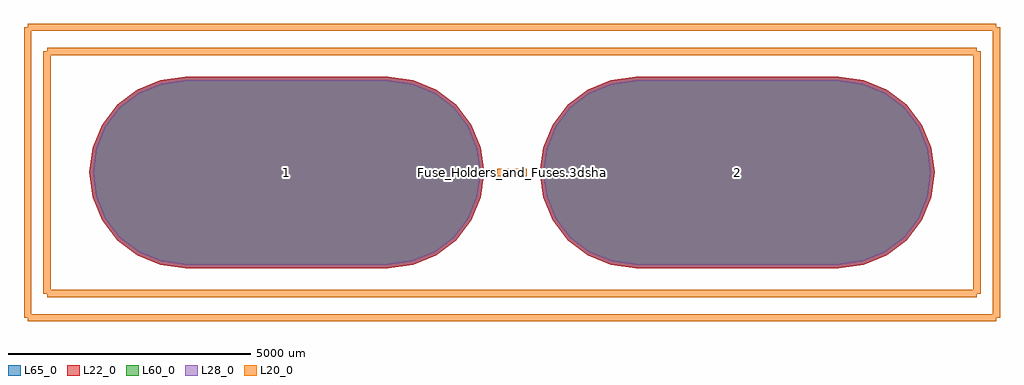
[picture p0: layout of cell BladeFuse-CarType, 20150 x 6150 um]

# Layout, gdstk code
import gdstk
lib = gdstk.Library(unit=1e-6, precision=1e-09)
def P(c, l, *ps):  # polygons
    for p in ps: c.add(gdstk.Polygon(p, *l))
L20_0 = (20, 0)
L22_0 = (22, 0)
L28_0 = (28, 0)
L60_0 = (60, 0)
L65_0 = (65, 0)

bladefuse_cartype = lib.new_cell('BladeFuse-CarType')
P(bladefuse_cartype, L22_0, [(2550,-1975),(6750,-1975),(7261.168,-1907.704),(7737.5,-1710.4),(8146.536,-1396.536),(8460.4,-987.5),(8657.704,-511.168),(8725,0),(8657.704,511.168),(8460.4,987.5),(8146.536,1396.536),(7737.5,1710.4),(7261.168,1907.704),(6750,1975),(2550,1975),(2038.832,1907.704),(1562.5,1710.4),(1153.464,1396.536),(839.6,987.5),(642.296,511.168),(575,0),(642.296,-511.168),(839.6,-987.5),(1153.464,-1396.536),(1562.5,-1710.4),(2038.832,-1907.704)],
  [(-6750,-1975),(-2550,-1975),(-2038.832,-1907.704),(-1562.5,-1710.4),(-1153.464,-1396.536),(-839.6,-987.5),(-642.296,-511.168),(-575,0),(-642.296,511.168),(-839.6,987.5),(-1153.464,1396.536),(-1562.5,1710.4),(-2038.832,1907.704),(-2550,1975),(-6750,1975),(-7261.168,1907.704),(-7737.5,1710.4),(-8146.536,1396.536),(-8460.4,987.5),(-8657.704,511.168),(-8725,0),(-8657.704,-511.168),(-8460.4,-987.5),(-8146.536,-1396.536),(-7737.5,-1710.4),(-7261.168,-1907.704)])
P(bladefuse_cartype, L28_0, [(2550,-1900),(6750,-1900),(7241.756,-1835.259),(7700,-1645.448),(8093.503,-1343.503),(8395.448,-950),(8585.259,-491.756),(8650,0),(8585.259,491.756),(8395.448,950),(8093.503,1343.503),(7700,1645.448),(7241.756,1835.259),(6750,1900),(2550,1900),(2058.244,1835.259),(1600,1645.448),(1206.497,1343.503),(904.552,950),(714.741,491.756),(650,0),(714.741,-491.756),(904.552,-950),(1206.497,-1343.503),(1600,-1645.448),(2058.244,-1835.259)],
  [(-6750,-1900),(-2550,-1900),(-2058.244,-1835.259),(-1600,-1645.448),(-1206.497,-1343.503),(-904.552,-950),(-714.741,-491.756),(-650,0),(-714.741,491.756),(-904.552,950),(-1206.497,1343.503),(-1600,1645.448),(-2058.244,1835.259),(-2550,1900),(-6750,1900),(-7241.756,1835.259),(-7700,1645.448),(-8093.503,1343.503),(-8395.448,950),(-8585.259,491.756),(-8650,0),(-8585.259,-491.756),(-8395.448,-950),(-8093.503,-1343.503),(-7700,-1645.448),(-7241.756,-1835.259)])
P(bladefuse_cartype, L60_0, [(2550,-1900),(6750,-1900),(7241.756,-1835.259),(7700,-1645.448),(8093.503,-1343.503),(8395.448,-950),(8585.259,-491.756),(8650,0),(8585.259,491.756),(8395.448,950),(8093.503,1343.503),(7700,1645.448),(7241.756,1835.259),(6750,1900),(2550,1900),(2058.244,1835.259),(1600,1645.448),(1206.497,1343.503),(904.552,950),(714.741,491.756),(650,0),(714.741,-491.756),(904.552,-950),(1206.497,-1343.503),(1600,-1645.448),(2058.244,-1835.259)],
  [(-6750,-1900),(-2550,-1900),(-2058.244,-1835.259),(-1600,-1645.448),(-1206.497,-1343.503),(-904.552,-950),(-714.741,-491.756),(-650,0),(-714.741,491.756),(-904.552,950),(-1206.497,1343.503),(-1600,1645.448),(-2058.244,1835.259),(-2550,1900),(-6750,1900),(-7241.756,1835.259),(-7700,1645.448),(-8093.503,1343.503),(-8395.448,950),(-8585.259,491.756),(-8650,0),(-8585.259,-491.756),(-8395.448,-950),(-8093.503,-1343.503),(-7700,-1645.448),(-7241.756,-1835.259)])
P(bladefuse_cartype, L65_0, [(2550,-1975),(6750,-1975),(7261.168,-1907.704),(7737.5,-1710.4),(8146.536,-1396.536),(8460.4,-987.5),(8657.704,-511.168),(8725,0),(8657.704,511.168),(8460.4,987.5),(8146.536,1396.536),(7737.5,1710.4),(7261.168,1907.704),(6750,1975),(2550,1975),(2038.832,1907.704),(1562.5,1710.4),(1153.464,1396.536),(839.6,987.5),(642.296,511.168),(575,0),(642.296,-511.168),(839.6,-987.5),(1153.464,-1396.536),(1562.5,-1710.4),(2038.832,-1907.704)],
  [(-6750,-1975),(-2550,-1975),(-2038.832,-1907.704),(-1562.5,-1710.4),(-1153.464,-1396.536),(-839.6,-987.5),(-642.296,-511.168),(-575,0),(-642.296,511.168),(-839.6,987.5),(-1153.464,1396.536),(-1562.5,1710.4),(-2038.832,1907.704),(-2550,1975),(-6750,1975),(-7261.168,1907.704),(-7737.5,1710.4),(-8146.536,1396.536),(-8460.4,987.5),(-8657.704,511.168),(-8725,0),(-8657.704,-511.168),(-8460.4,-987.5),(-8146.536,-1396.536),(-7737.5,-1710.4),(-7261.168,-1907.704)])
bladefuse_cartype.add(gdstk.FlexPath([(-9600,-2500),(-9600,2500)], 149.998, ends="flush", simple_path=True, layer=20, datatype=0))  # L20_0
bladefuse_cartype.add(gdstk.FlexPath([(9600,-2500),(-9600,-2500)], 149.998, ends="flush", simple_path=True, layer=20, datatype=0))  # L20_0
bladefuse_cartype.add(gdstk.FlexPath([(9600,2500),(9600,-2500)], 149.998, ends="flush", simple_path=True, layer=20, datatype=0))  # L20_0
bladefuse_cartype.add(gdstk.FlexPath([(-9600,2500),(9600,2500)], 149.998, ends="flush", simple_path=True, layer=20, datatype=0))  # L20_0
bladefuse_cartype.add(gdstk.FlexPath([(-10000,-3000),(-10000,3000)], 149.998, ends="flush", simple_path=True, layer=20, datatype=0))  # L20_0
bladefuse_cartype.add(gdstk.FlexPath([(10000,-3000),(-10000,-3000)], 149.998, ends="flush", simple_path=True, layer=20, datatype=0))  # L20_0
bladefuse_cartype.add(gdstk.FlexPath([(10000,3000),(10000,-3000)], 149.998, ends="flush", simple_path=True, layer=20, datatype=0))  # L20_0
bladefuse_cartype.add(gdstk.FlexPath([(-10000,3000),(10000,3000)], 149.998, ends="flush", simple_path=True, layer=20, datatype=0))  # L20_0
bladefuse_cartype.add(gdstk.FlexPath([(300,0),(-300,0)], 149.998, ends="flush", simple_path=True, layer=20, datatype=0))  # L20_0
bladefuse_cartype.add(gdstk.Label('Fuse_Holders_and_Fuses.3dshapes/BladeFuse-CarType.wrl', (0,0), layer=12, texttype=0))
bladefuse_cartype.add(gdstk.Label('2', (4650,0), layer=28, texttype=0))
bladefuse_cartype.add(gdstk.Label('1', (-4650,0), layer=28, texttype=0))
bladefuse_cartype.add(gdstk.Label('type', (-300,-6100), layer=9, texttype=0))
bladefuse_cartype.add(gdstk.Label('devicename', (-100,5200), layer=9, texttype=0))

lib.write_gds('BladeFuse-CarType.gds')
